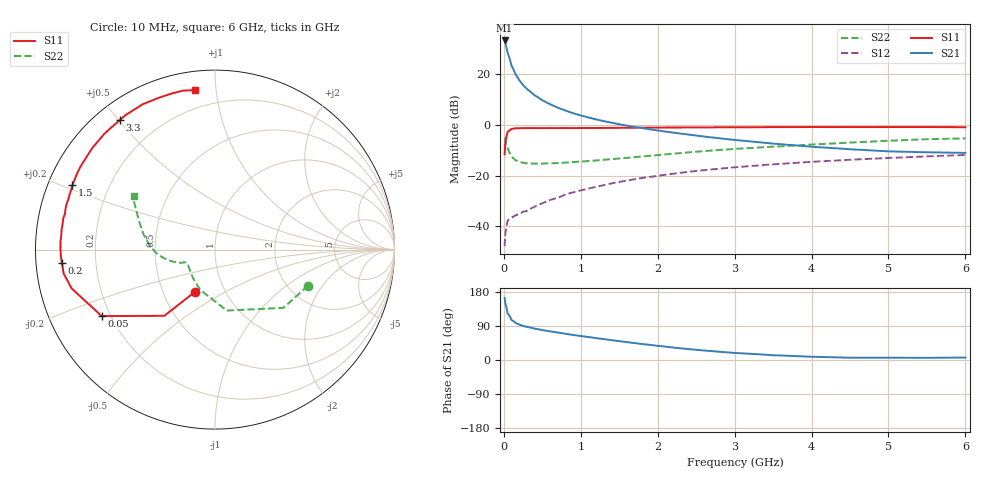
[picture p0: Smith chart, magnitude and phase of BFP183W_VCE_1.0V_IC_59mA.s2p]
! Infineon Technologies  Discrete & RF Semiconductors
! BFP183W
! VCE =  1.0 V,  IC =  59 mA
! Common Emitter S-Parameters:  Jan 2017
# GHz  S  MA  R  50
!  f  S11  S21  S12  S22
! GHz  MAG  ANG  MAG  ANG  MAG  ANG  MAG  ANG
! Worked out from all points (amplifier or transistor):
!   77 points, 10 MHz to 6 GHz, reference 50 ohm
!   highest |S21| = 33.2 dB at 10 MHz (marker M1)
!   |S21| within 3 dB of that: start of sweep to 35.38 MHz
!   unconditionally stable (mu >= 1): start of sweep to 18.36 MHz; 192.9 MHz to end of sweep
!   at 130 MHz: K = 0.76, MSG = 28.7 dB, |S12| = -36.0 dB
!   at 2.2 GHz: K = 1.48, MAG = 4.0 dB, |S12| = -19.3 dB
!   at 6 GHz: K = 1.44, MAG = -3.5 dB, |S12| = -11.9 dB
!   S11 on the Smith chart (normalised r, x): 10 MHz: 0.72, -0.37; 50 MHz: 0.17, -0.26; 200 MHz: 0.08, -0.04; 1.5 GHz: 0.07, +0.21; 3.3 GHz: 0.07, +0.51; 6 GHz: 0.10, +0.88
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0.01  0.2624 -115.6  45.53 163.6  0.0041 70.3  0.5555 -21.2
0.02  0.4643 -127.4  40.73 148.3  0.0073 62.8  0.5011 -40.3
0.05  0.7321 -149.6  25.79 122.1  0.0131 39.5  0.346 -79.0
0.1  0.8277 -164.9  14.58 105.3  0.0148 36.4  0.2386 -110.5
0.15  0.8535 -171.0  9.99 98.2  0.0165 36.2  0.2021 -126.9
0.2  0.8561 -174.9  7.544 93.4  0.0175 40.5  0.1868 -136.3
0.25  0.8595 -177.6  6.052 90.0  0.0195 43.8  0.1789 -142.6
0.3  0.8605 -179.5  5.05 87.4  0.0203 47.8  0.1749 -146.9
0.4  0.862 177.2  3.805 82.8  0.0246 52.8  0.1722 -151.6
0.5  0.8603 174.7  3.042 79.0  0.0286 56.6  0.1724 -154.0
0.6  0.862 172.5  2.541 75.6  0.0332 59.4  0.1751 -155.6
0.7  0.8607 170.7  2.177 72.5  0.0368 61.7  0.1764 -156.6
0.9  0.8596 166.5  1.69 66.2  0.047 64.1  0.1848 -157.2
1.1  0.8652 162.9  1.391 60.6  0.0556 65.4  0.194 -157.9
1.5  0.8712 155.7  1.024 49.8  0.0751 64.8  0.2173 -160.7
2.1  0.8817 145.0  0.737 35.3  0.1042 61.7  0.2615 -166.6
2.6  0.8884 136.9  0.588 25.1  0.1281 57.7  0.3031 -172.8
3.1  0.8929 129.2  0.487 17.6  0.15 53.2  0.3417 -179.5
3.3  0.8954 126.2  0.456 15.2  0.1582 51.4  0.356 177.7
4.1  0.903 115.3  0.362 8.1  0.1904 44.1  0.4153 166.1
5.1  0.9021 104.8  0.298 6.0  0.2256 35.5  0.4919 153.3
6  0.8954 97.0  0.28 6.4  0.2551 27.9  0.5397 146.4
